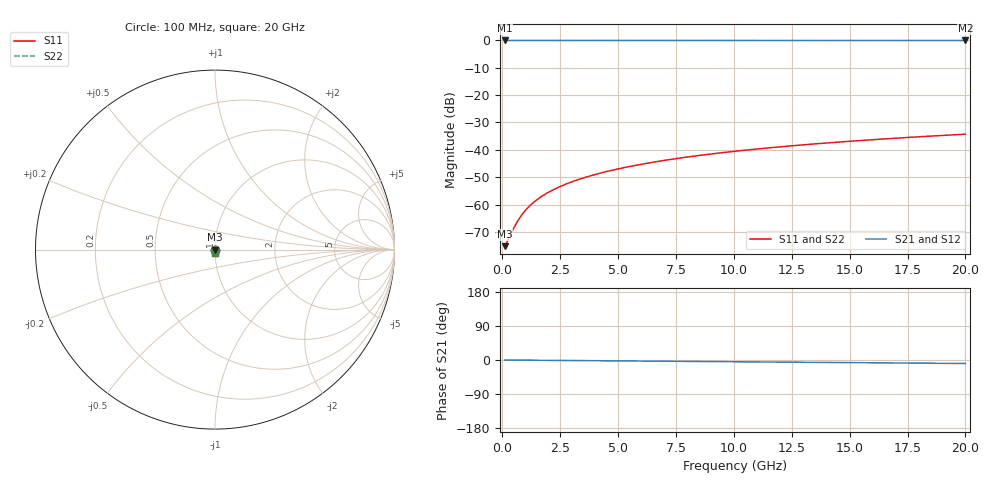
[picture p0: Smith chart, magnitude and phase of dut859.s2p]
! Touchstone file exported from HFSS 2026.1.0
!  File:  C:/ffzhzh/LocalFiles/Ansys_Project_Files/temp_train_TSV_859_1783185339_51560.aedt
!  Generated:  01:17:10 AM Jul  5, 2026
!  Design:  TSV
!  Project:  temp_train_TSV_859_1783185339_51560
! Variables:
!  h_bsmrdl = 2um
!  h_ox = 20um
!  h_rdl = 5um
!  h_sub = 96.52um
!  h_tmrdl = 5um
!  h_tsv = 96.52um
!  h_via = 3um
!  l_bsmrdl = 300um
!  l_sub = 418.78um
!  l_tmrdl = 200um
!  m_sub = 200um
!  pitch = 33.86um
!  r_tsv = 9.39um
!  s_tmrdl = 10um
!  w_bsmrdl = 18um
!  w_sub = 500um
!  w_tmrdl = 12um
!  x_tsv_center1 = 206um
!  x_tsv_center2 = 524um
!  x_tsv_center3 = 736um
!  x_tsv_center4 = 1054um
!  x_tsv_center5 = 1266um
!  x_tsv_center6 = 1584um
# GHz S MA R 50.000000
! Terminal data exported
! Port[1] = TSV1_1_T1
! Port[2] = TSV1_1_T2
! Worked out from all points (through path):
!   200 points, 100 MHz to 20 GHz, reference 50 ohm
!   highest |S21| = 0.00 dB at 100 MHz (marker M1); lowest = 0.0 dB at 20 GHz (marker M2)
!   group delay of S21, straight-line fit = 1.27 ps
!   lowest |S11| = -75.2 dB at 100 MHz (marker M3), VSWR 1.00, Z = 50 - j0.00413 ohm
!   |S11| at or under -10 dB: start of sweep to end of sweep
!   |S22| runs from -75.2 to -34.3 dB; largest |S21 - S12| = 2.2e-15
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0.1  0.000173 -13.8  0.9998 -0.0  0.9998 -0.0  0.000173 -13.8
! Gamma 0 0 0 0
! Port Impedance 50 0 50 0
0.2  0.0002028 -25.2  0.9998 -0.1  0.9998 -0.1  0.0002028 -25.2
0.5  0.0003736 -44.9  0.9997 -0.2  0.9997 -0.2  0.0003736 -44.9
0.7  0.0005269 -52.3  0.9997 -0.3  0.9997 -0.3  0.0005269 -52.3
0.8  0.0006096 -55.1  0.9996 -0.4  0.9996 -0.4  0.0006096 -55.1
1  0.0007814 -59.8  0.9996 -0.5  0.9996 -0.5  0.0007814 -59.8
1.3  0.001047 -64.9  0.9995 -0.6  0.9995 -0.6  0.001047 -64.9
1.5  0.001227 -67.5  0.9995 -0.7  0.9995 -0.7  0.001227 -67.5
1.7  0.001407 -69.6  0.9995 -0.8  0.9995 -0.8  0.001407 -69.6
2.2  0.00186 -73.3  0.9994 -1.0  0.9994 -1.0  0.00186 -73.3
2.8  0.002409 -76.3  0.9994 -1.3  0.9994 -1.3  0.002409 -76.3
3.5  0.003058 -78.5  0.9993 -1.6  0.9993 -1.6  0.003058 -78.5
4.2  0.003715 -80.2  0.9992 -2.0  0.9992 -2.0  0.003715 -80.2
5  0.004476 -81.6  0.9992 -2.3  0.9992 -2.3  0.004476 -81.6
5.9  0.005342 -83.0  0.9991 -2.7  0.9991 -2.7  0.005342 -83.0
6.8  0.006217 -84.1  0.999 -3.1  0.999 -3.1  0.006217 -84.1
8.3  0.007688 -85.7  0.9989 -3.8  0.9989 -3.8  0.007688 -85.7
10.1  0.009463 -87.4  0.9988 -4.7  0.9988 -4.7  0.009463 -87.4
11.7  0.01105 -88.8  0.9987 -5.4  0.9987 -5.4  0.01105 -88.8
13.4  0.01274 -90.0  0.9986 -6.2  0.9986 -6.2  0.01274 -90.0
16.7  0.01603 -92.2  0.9983 -7.7  0.9983 -7.7  0.01603 -92.2
20  0.01934 -94.2  0.9981 -9.2  0.9981 -9.2  0.01934 -94.2
